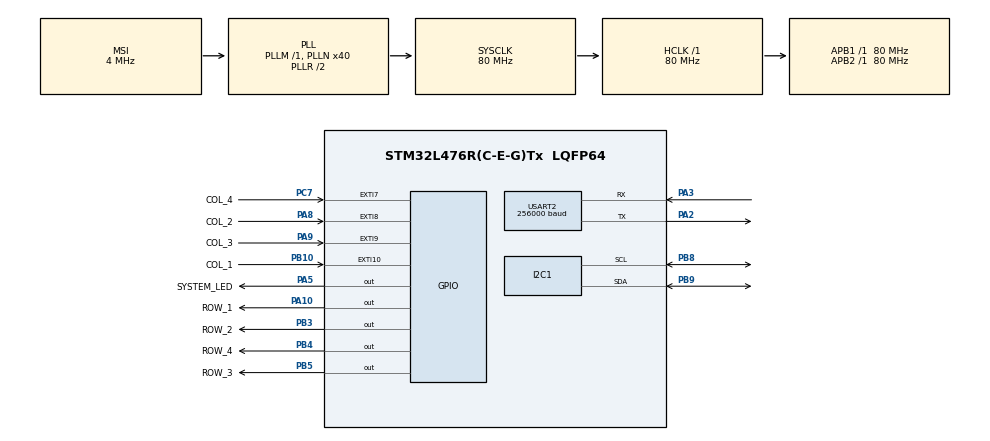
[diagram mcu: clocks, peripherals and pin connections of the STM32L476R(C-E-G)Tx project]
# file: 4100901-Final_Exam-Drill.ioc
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I2C1.Timing=0x10D19CE4
Mcu.Family=STM32L4
Mcu.Name=STM32L476R(C-E-G)Tx
Mcu.Package=LQFP64
NVIC.EXTI15_10_IRQn=true\:0\:0\:false\:false\:true\:true\:true\:true
NVIC.EXTI9_5_IRQn=true\:0\:0\:false\:false\:true\:true\:true\:true
NVIC.PriorityGroup=NVIC_PRIORITYGROUP_4
PA10.GPIO_Label=ROW_1
PA10.PinState=GPIO_PIN_SET
PA10.Signal=GPIO_Output
PA2.Mode=Asynchronous
PA2.Signal=USART2_TX
PA3.Mode=Asynchronous
PA3.Signal=USART2_RX
PA5.GPIO_Label=SYSTEM_LED
PA5.PinState=GPIO_PIN_SET
PA5.Signal=GPIO_Output
PA8.GPIO_Label=COL_2
PA8.GPIO_ModeDefaultEXTI=GPIO_MODE_IT_RISING
PA8.GPIO_PuPd=GPIO_PULLDOWN
PA8.Signal=GPXTI8
PA9.GPIO_Label=COL_3
PA9.GPIO_ModeDefaultEXTI=GPIO_MODE_IT_RISING
PA9.GPIO_PuPd=GPIO_PULLDOWN
PA9.Signal=GPXTI9
PB10.GPIO_Label=COL_1
PB10.GPIO_ModeDefaultEXTI=GPIO_MODE_IT_RISING
PB10.GPIO_PuPd=GPIO_PULLDOWN
PB10.Signal=GPXTI10
PB3\ (JTDO-TRACESWO).GPIO_Label=ROW_2
PB3\ (JTDO-TRACESWO).PinState=GPIO_PIN_SET
PB3\ (JTDO-TRACESWO).Signal=GPIO_Output
PB4\ (NJTRST).GPIO_Label=ROW_4
PB4\ (NJTRST).PinState=GPIO_PIN_SET
PB4\ (NJTRST).Signal=GPIO_Output
PB5.GPIO_Label=ROW_3
PB5.PinState=GPIO_PIN_SET
PB5.Signal=GPIO_Output
PB8.Mode=I2C
PB8.Signal=I2C1_SCL
PB9.Mode=I2C
PB9.Signal=I2C1_SDA
PC7.GPIO_Label=COL_4
PC7.GPIO_ModeDefaultEXTI=GPIO_MODE_IT_RISING
PC7.GPIO_PuPd=GPIO_PULLDOWN
PC7.Signal=GPXTI7
ProjectManager.HeapSize=0x200
ProjectManager.StackSize=0x400
ProjectManager.TargetToolchain=STM32CubeIDE
RCC.AHBFreq_Value=80000000
RCC.APB1Freq_Value=80000000
RCC.APB1TimFreq_Value=80000000
RCC.APB2Freq_Value=80000000
RCC.APB2TimFreq_Value=80000000
RCC.CortexFreq_Value=80000000
RCC.HCLKFreq_Value=80000000
RCC.HSE_VALUE=8000000
RCC.HSI_VALUE=16000000
RCC.LSE_VALUE=32768
RCC.MSI_VALUE=4000000
RCC.PLLN=40
RCC.SYSCLKFreq_VALUE=80000000
RCC.SYSCLKSource=RCC_SYSCLKSOURCE_PLLCLK
RCC.VCOOutputFreq_Value=160000000
USART2.BaudRate=256000
USART2.VirtualMode-Asynchronous=VM_ASYNC
board=custom

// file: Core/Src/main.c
/* USER CODE BEGIN Header */
/**
  ******************************************************************************
  * @file           : main.c
  * @brief          : Main program body
  ******************************************************************************
  * @attention
  *
  * Copyright (c) 2024 STMicroelectronics.
  * All rights reserved.
  *
  * This software is licensed under terms that can be found in the LICENSE file
  * in the root directory of this software component.
  * If no LICENSE file comes with this software, it is provided AS-IS.
  *
  ******************************************************************************
  */
/* USER CODE END Header */
#include "main.h"

/* USER CODE BEGIN Includes */

#include <stdio.h>

#include "led_estatus.h"
#include "keypad.h"
#include "ring_buffer.h"
#include "val_clave.h"

/* USER CODE END Includes */

I2C_HandleTypeDef hi2c1;

UART_HandleTypeDef huart2;

/* USER CODE BEGIN PV */
uint8_t var_control = 0;
uint32_t tiempo_led = 0;
flag_enum presion_teclado = NO_PRESION;
uint16_t tecla_presionada;
uint8_t clave[TAM_CLAVE];
ring_buffer_t ring_clave;
uint8_t buffer_pantalla[TAM_CLAVE];
uint8_t validacion_clave = 30;
uint8_t pantalla_x = 20;
uint8_t pantalla_y = 10;
/* USER CODE END PV */

void SystemClock_Config(void);
static void MX_GPIO_Init(void);
static void MX_USART2_UART_Init(void);
static void MX_I2C1_Init(void);

/* USER CODE BEGIN 0 */
int _write(int file, char *ptr, int len)
{
  // to using printf
  HAL_UART_Transmit(&huart2, (uint8_t *)ptr, len, 10);
  return len;
}

void HAL_GPIO_EXTI_Callback(uint16_t GPIO_Pin)
{
	uint8_t key_pressed = keypad_scan(GPIO_Pin);
	if (key_pressed != 0xFF) {
		printf("Se presionó: %c\r\n", key_pressed);
		tecla_presionada = key_pressed;
		presion_teclado = PRESION;
		return;
	}

}
/* USER CODE END 0 */

int main(void)
{

  /* MCU Configuration--------------------------------------------------------*/

  /* Reset of all peripherals, Initializes the Flash interface and the Systick. */
  HAL_Init();

  /* Configure the system clock */
  SystemClock_Config();

  /* Initialize all configured peripherals */
  MX_GPIO_Init();
  MX_USART2_UART_Init();
  MX_I2C1_Init();
  /* USER CODE BEGIN 2 */

  ring_buffer_init(&ring_clave, clave, TAM_CLAVE);
  ssd1306_Init();
ssd1306_Fill(Black);
ssd1306_SetCursor(30, 30);
ssd1306_WriteString("Welcome!", Font_7x10, White);
ssd1306_UpdateScreen();
  /* USER CODE END 2 */

  /* Infinite loop */
  /* USER CODE BEGIN WHILE */
  printf("Starting...\r\n");
  while (1)
  {
    /* USER CODE END WHILE */

    /* USER CODE BEGIN 3 */

	  if(presion_teclado == PRESION && tecla_presionada != '#' && tecla_presionada != '*'){
		  presion_teclado = NO_PRESION;
		  ring_buffer_write(&ring_clave, tecla_presionada);
		  buffer_pantalla[var_control] = tecla_presionada;
		  var_control ++;

		  ssd1306_Fill(Black);
		  ssd1306_SetCursor(pantalla_x, pantalla_y);
		  ssd1306_WriteString(&buffer_pantalla, Font_7x10, White);
		  ssd1306_UpdateScreen();

	  } else if(presion_teclado == PRESION && tecla_presionada == '*'){
		  presion_teclado = NO_PRESION;
		  ring_buffer_reset(&ring_clave);
		  for(uint8_t i = 0; i <= var_control; i++ ){
			  buffer_pantalla[i] = 0;
		  }
//		  memset(&buffer_pantalla, 0, TAM_CLAVE);
		  var_control = 0;

		  ssd1306_Fill(Black);
		  ssd1306_UpdateScreen();

	  } else if(presion_teclado == PRESION && tecla_presionada == '#'){
		  presion_teclado = NO_PRESION;
		  validacion_clave = validar_clave(&ring_clave);
		  ring_buffer_reset(&ring_clave);
		  printf("Validacion: %d\r\n", validacion_clave);

	  }

	  //Creamos los condicionales para cuando se presione el numeral, encienda 3000 ms el led (diferentes Frec.)
	  if(tecla_presionada == '#'){
		  tiempo_led = HAL_GetTick() + 3000;
		  tecla_presionada = 0xFF;
	  }
	  if( HAL_GetTick() < tiempo_led){
		  estatus_hz(validacion_clave); //Utilizamos la función estatus_hz de la librería "led_estatus"
	  }else{  	  	  	  	 //que sirve para indicar la frencuencia de encendido del led.
		  HAL_GPIO_WritePin(SYSTEM_LED_GPIO_Port, SYSTEM_LED_Pin, 1);
	  }
	  }
  /* USER CODE END 3 */
}

void SystemClock_Config(void)
{
  RCC_OscInitTypeDef RCC_OscInitStruct = {0};
  RCC_ClkInitTypeDef RCC_ClkInitStruct = {0};

  /** Configure the main internal regulator output voltage
  */
  if (HAL_PWREx_ControlVoltageScaling(PWR_REGULATOR_VOLTAGE_SCALE1) != HAL_OK)
  {
    Error_Handler();
  }

  /** Initializes the RCC Oscillators according to the specified parameters
  * in the RCC_OscInitTypeDef structure.
  */
  RCC_OscInitStruct.OscillatorType = RCC_OSCILLATORTYPE_MSI;
  RCC_OscInitStruct.MSIState = RCC_MSI_ON;
  RCC_OscInitStruct.MSICalibrationValue = 0;
  RCC_OscInitStruct.MSIClockRange = RCC_MSIRANGE_6;
  RCC_OscInitStruct.PLL.PLLState = RCC_PLL_ON;
  RCC_OscInitStruct.PLL.PLLSource = RCC_PLLSOURCE_MSI;
  RCC_OscInitStruct.PLL.PLLM = 1;
  RCC_OscInitStruct.PLL.PLLN = 40;
  RCC_OscInitStruct.PLL.PLLP = RCC_PLLP_DIV7;
  RCC_OscInitStruct.PLL.PLLQ = RCC_PLLQ_DIV2;
  RCC_OscInitStruct.PLL.PLLR = RCC_PLLR_DIV2;
  if (HAL_RCC_OscConfig(&RCC_OscInitStruct) != HAL_OK)
  {
    Error_Handler();
  }

  /** Initializes the CPU, AHB and APB buses clocks
  */
  RCC_ClkInitStruct.ClockType = RCC_CLOCKTYPE_HCLK|RCC_CLOCKTYPE_SYSCLK
                              |RCC_CLOCKTYPE_PCLK1|RCC_CLOCKTYPE_PCLK2;
  RCC_ClkInitStruct.SYSCLKSource = RCC_SYSCLKSOURCE_PLLCLK;
  RCC_ClkInitStruct.AHBCLKDivider = RCC_SYSCLK_DIV1;
  RCC_ClkInitStruct.APB1CLKDivider = RCC_HCLK_DIV1;
  RCC_ClkInitStruct.APB2CLKDivider = RCC_HCLK_DIV1;

  if (HAL_RCC_ClockConfig(&RCC_ClkInitStruct, FLASH_LATENCY_4) != HAL_OK)
  {
    Error_Handler();
  }
}

static void MX_I2C1_Init(void)
{

  hi2c1.Instance = I2C1;
  hi2c1.Init.Timing = 0x10D19CE4;
  hi2c1.Init.OwnAddress1 = 0;
  hi2c1.Init.AddressingMode = I2C_ADDRESSINGMODE_7BIT;
  hi2c1.Init.DualAddressMode = I2C_DUALADDRESS_DISABLE;
  hi2c1.Init.OwnAddress2 = 0;
  hi2c1.Init.OwnAddress2Masks = I2C_OA2_NOMASK;
  hi2c1.Init.GeneralCallMode = I2C_GENERALCALL_DISABLE;
  hi2c1.Init.NoStretchMode = I2C_NOSTRETCH_DISABLE;
  if (HAL_I2C_Init(&hi2c1) != HAL_OK)
  {
    Error_Handler();
  }

  /** Configure Analogue filter
  */
  if (HAL_I2CEx_ConfigAnalogFilter(&hi2c1, I2C_ANALOGFILTER_ENABLE) != HAL_OK)
  {
    Error_Handler();
  }

  /** Configure Digital filter
  */
  if (HAL_I2CEx_ConfigDigitalFilter(&hi2c1, 0) != HAL_OK)
  {
    Error_Handler();
  }

}

static void MX_USART2_UART_Init(void)
{

  huart2.Instance = USART2;
  huart2.Init.BaudRate = 256000;
  huart2.Init.WordLength = UART_WORDLENGTH_8B;
  huart2.Init.StopBits = UART_STOPBITS_1;
  huart2.Init.Parity = UART_PARITY_NONE;
  huart2.Init.Mode = UART_MODE_TX_RX;
  huart2.Init.HwFlowCtl = UART_HWCONTROL_NONE;
  huart2.Init.OverSampling = UART_OVERSAMPLING_16;
  huart2.Init.OneBitSampling = UART_ONE_BIT_SAMPLE_DISABLE;
  huart2.AdvancedInit.AdvFeatureInit = UART_ADVFEATURE_NO_INIT;
  if (HAL_UART_Init(&huart2) != HAL_OK)
  {
    Error_Handler();
  }

}

static void MX_GPIO_Init(void)
{
  GPIO_InitTypeDef GPIO_InitStruct = {0};

  /* GPIO Ports Clock Enable */
  __HAL_RCC_GPIOA_CLK_ENABLE();
  __HAL_RCC_GPIOB_CLK_ENABLE();
  __HAL_RCC_GPIOC_CLK_ENABLE();

  /*Configure GPIO pin Output Level */
  HAL_GPIO_WritePin(GPIOA, SYSTEM_LED_Pin|ROW_1_Pin, GPIO_PIN_SET);

  /*Configure GPIO pin Output Level */
  HAL_GPIO_WritePin(GPIOB, ROW_2_Pin|ROW_4_Pin|ROW_3_Pin, GPIO_PIN_SET);

  /*Configure GPIO pins : SYSTEM_LED_Pin ROW_1_Pin */
  GPIO_InitStruct.Pin = SYSTEM_LED_Pin|ROW_1_Pin;
  GPIO_InitStruct.Mode = GPIO_MODE_OUTPUT_PP;
  GPIO_InitStruct.Pull = GPIO_NOPULL;
  GPIO_InitStruct.Speed = GPIO_SPEED_FREQ_LOW;
  HAL_GPIO_Init(GPIOA, &GPIO_InitStruct);

  /*Configure GPIO pin : COL_1_Pin */
  GPIO_InitStruct.Pin = COL_1_Pin;
  GPIO_InitStruct.Mode = GPIO_MODE_IT_RISING;
  GPIO_InitStruct.Pull = GPIO_PULLDOWN;
  HAL_GPIO_Init(COL_1_GPIO_Port, &GPIO_InitStruct);

  /*Configure GPIO pin : COL_4_Pin */
  GPIO_InitStruct.Pin = COL_4_Pin;
  GPIO_InitStruct.Mode = GPIO_MODE_IT_RISING;
  GPIO_InitStruct.Pull = GPIO_PULLDOWN;
  HAL_GPIO_Init(COL_4_GPIO_Port, &GPIO_InitStruct);

  /*Configure GPIO pins : COL_2_Pin COL_3_Pin */
  GPIO_InitStruct.Pin = COL_2_Pin|COL_3_Pin;
  GPIO_InitStruct.Mode = GPIO_MODE_IT_RISING;
  GPIO_InitStruct.Pull = GPIO_PULLDOWN;
  HAL_GPIO_Init(GPIOA, &GPIO_InitStruct);

  /*Configure GPIO pins : ROW_2_Pin ROW_4_Pin ROW_3_Pin */
  GPIO_InitStruct.Pin = ROW_2_Pin|ROW_4_Pin|ROW_3_Pin;
  GPIO_InitStruct.Mode = GPIO_MODE_OUTPUT_PP;
  GPIO_InitStruct.Pull = GPIO_NOPULL;
  GPIO_InitStruct.Speed = GPIO_SPEED_FREQ_LOW;
  HAL_GPIO_Init(GPIOB, &GPIO_InitStruct);

  /* EXTI interrupt init*/
  HAL_NVIC_SetPriority(EXTI9_5_IRQn, 0, 0);
  HAL_NVIC_EnableIRQ(EXTI9_5_IRQn);

  HAL_NVIC_SetPriority(EXTI15_10_IRQn, 0, 0);
  HAL_NVIC_EnableIRQ(EXTI15_10_IRQn);

}

void Error_Handler(void)
{
  __disable_irq();
  while (1)
  {
  }
}
